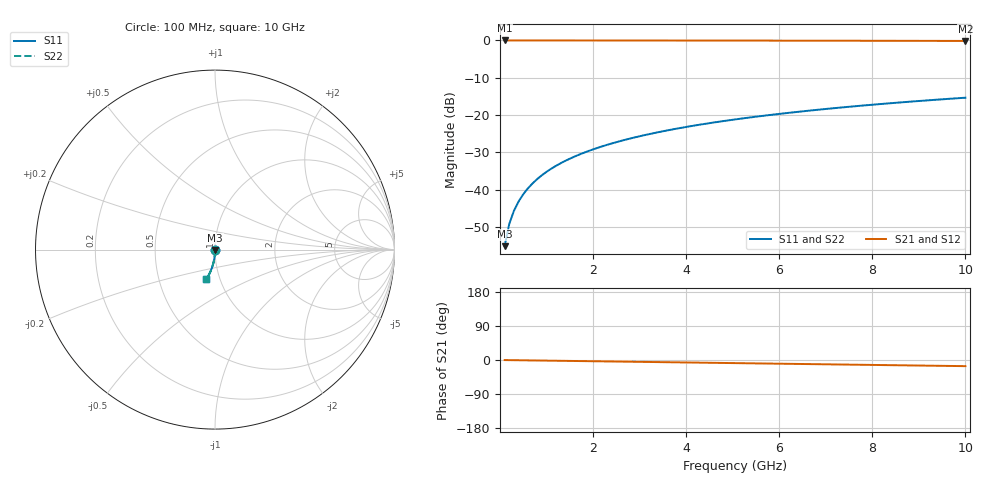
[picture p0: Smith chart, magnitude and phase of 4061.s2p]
# Hz S RI R 50.00
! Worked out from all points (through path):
!   100 points, 100 MHz to 10 GHz, reference 50 ohm
!   highest |S21| = 0.00 dB at 100 MHz (marker M1); lowest = -0.1 dB at 10 GHz (marker M2)
!   group delay of S21, straight-line fit = 4.51 ps
!   lowest |S11| = -55.1 dB at 100 MHz (marker M3), VSWR 1.00, Z = 50 - j0.173 ohm
!   |S11| at or under -10 dB: start of sweep to end of sweep
!   |S22| runs from -55.1 to -15.3 dB; largest |S21 - S12| = 0
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1e8  0.000232 -0.00173  0.9998 -0.00283  0.9998 -0.00283  0.000232 -0.00173
2e8  0.000216 -0.00347  0.9997 -0.00567  0.9997 -0.00567  0.000216 -0.00347
3e8  0.000191 -0.0052  0.9997 -0.0085  0.9997 -0.0085  0.000191 -0.0052
4e8  0.000155 -0.00693  0.9997 -0.0113  0.9997 -0.0113  0.000155 -0.00693
5e8  0.00011 -0.00867  0.9996 -0.0142  0.9996 -0.0142  0.00011 -0.00867
6e8  5.4e-05 -0.0104  0.9995 -0.017  0.9995 -0.017  5.4e-05 -0.0104
7e8  -1.14e-05 -0.0121  0.9995 -0.0198  0.9995 -0.0198  -1.14e-05 -0.0121
8e8  -8.67e-05 -0.0139  0.9994 -0.0227  0.9994 -0.0227  -8.67e-05 -0.0139
9e8  -0.000172 -0.0156  0.9993 -0.0255  0.9993 -0.0255  -0.000172 -0.0156
1.1e9  -0.000372 -0.0191  0.9991 -0.0312  0.9991 -0.0312  -0.000372 -0.0191
1.4e9  -0.000745 -0.0243  0.9986 -0.0397  0.9986 -0.0397  -0.000745 -0.0243
1.8e9  -0.00138 -0.0312  0.9979 -0.051  0.9979 -0.051  -0.00138 -0.0312
2.1e9  -0.00196 -0.0363  0.9973 -0.0595  0.9973 -0.0595  -0.00196 -0.0363
2.5e9  -0.00287 -0.0432  0.9962 -0.0708  0.9962 -0.0708  -0.00287 -0.0432
2.9e9  -0.00394 -0.0501  0.995 -0.0821  0.995 -0.0821  -0.00394 -0.0501
3.4e9  -0.00549 -0.0586  0.9933 -0.0961  0.9933 -0.0961  -0.00549 -0.0586
4.2e9  -0.00848 -0.0722  0.9899 -0.1186  0.9899 -0.1186  -0.00848 -0.0722
5.1e9  -0.0126 -0.0873  0.9853 -0.1436  0.9853 -0.1436  -0.0126 -0.0873
5.9e9  -0.0168 -0.1005  0.9805 -0.1657  0.9805 -0.1657  -0.0168 -0.1005
6.7e9  -0.0217 -0.1135  0.975 -0.1876  0.975 -0.1876  -0.0217 -0.1135
8.4e9  -0.0339 -0.1402  0.9612 -0.2333  0.9612 -0.2333  -0.0339 -0.1402
1e10  -0.0477 -0.1641  0.9456 -0.2751  0.9456 -0.2751  -0.0477 -0.1641
